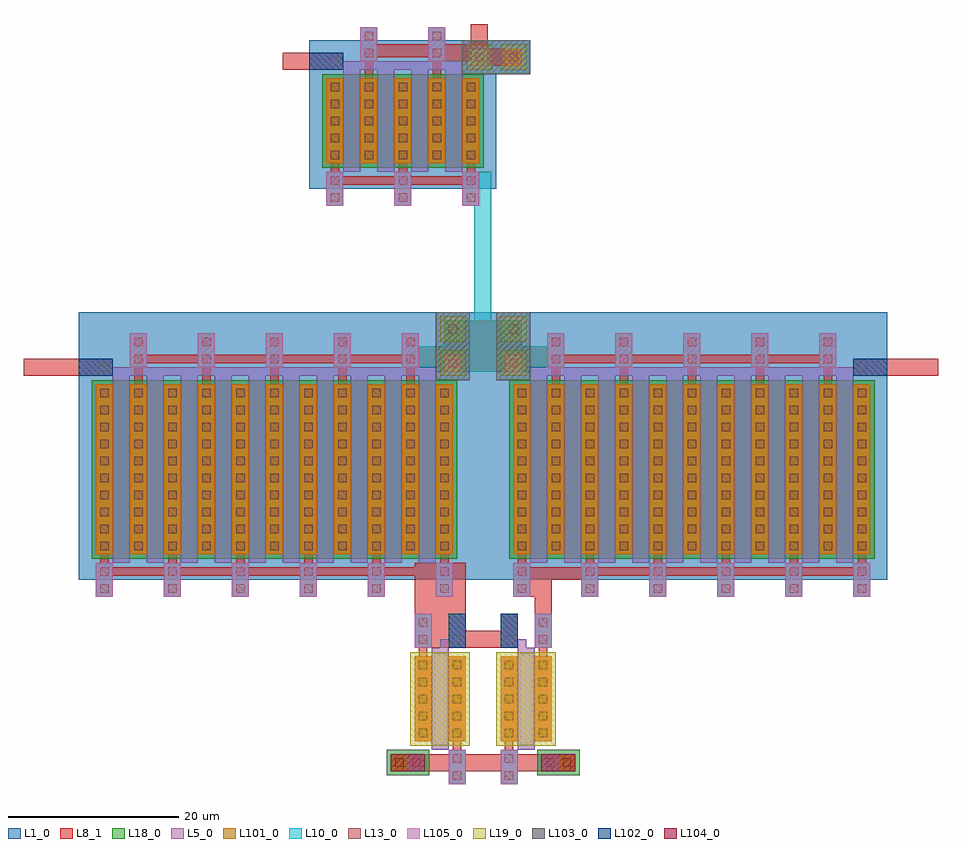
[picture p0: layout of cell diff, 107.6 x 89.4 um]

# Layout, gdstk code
from math import pi, radians
import gdstk
lib = gdstk.Library(unit=1e-6, precision=1e-07)
def R(c, l, rs):  # rectangles x0, y0, x1, y1
    for r in rs: c.add(gdstk.rectangle(r[:2], r[2:], *l))
def P(c, l, *ps):  # polygons
    for p in ps: c.add(gdstk.Polygon(p, *l))
L1_0 = (1, 0)
L5_0 = (5, 0)
L8_1 = (8, 1)
L10_0 = (10, 0)
L13_0 = (13, 0)
L18_0 = (18, 0)
L19_0 = (19, 0)
L101_0 = (101, 0)
L102_0 = (102, 0)
L103_0 = (103, 0)
L104_0 = (104, 0)
L105_0 = (105, 0)

dcont = lib.new_cell('dcont')
R(dcont, L8_1, [(-1,-1,1,1)])
R(dcont, L13_0, [(-0.5,-0.5,0.5,0.5)])
R(dcont, L101_0, [(-1,-1,1,1)])

via = lib.new_cell('Via')
R(via, L8_1, [(-1,-1,1,1)])
R(via, L10_0, [(-1,-1,1,1)])
R(via, L13_0, [(-0.5,-0.5,0.5,0.5)])
R(via, L105_0, [(-1,-1,1,1)])

dcont1 = lib.new_cell('dcont1')
R(dcont1, L8_1, [(-1,-1,1,1)])
R(dcont1, L13_0, [(-0.5,-0.5,0.5,0.5)])
R(dcont1, L101_0, [(-1,-1,1,1)])

nsubcont = lib.new_cell('nsubcont')
R(nsubcont, L1_0, [(-2,-2,2,2)])
R(nsubcont, L19_0, [(-1.5,-1.5,1.5,1.5)])
R(nsubcont, L103_0, [(-2,-2,2,2)])
nsubcont.add(gdstk.Reference(dcont1, (0,0)))

pch_2 = lib.new_cell('Pch$2')
R(pch_2, L1_0, [(-2,-1.5,20,16)])
R(pch_2, L5_0, [(0,0,2,2)])
R(pch_2, L8_1, [(0,0,2,2)])
P(pch_2, L8_1, [(4.5,-0.5),(4.5,3),(4,3),(4,13),(6,13),(6,3),(5.5,3),(5.5,0.5),(12.5,0.5),(12.5,3),(12,3),(12,13),(14,13),(14,3),(13.5,3),(13.5,-0.5)],
  [(0,3),(0,13),(0.5,13),(0.5,15.5),(17.5,15.5),(17.5,13),(18,13),(18,3),(16,3),(16,13),(16.5,13),(16.5,14.5),(9.5,14.5),(9.5,13),(10,13),(10,3),(8,3),(8,13),(8.5,13),(8.5,14.5),(1.5,14.5),(1.5,13),(2,13),(2,3)])
R(pch_2, L13_0, [(0.5,0.5,1.5,1.5)])
R(pch_2, L18_0, [(-0.5,2.5,18.5,13.5)])
R(pch_2, L102_0, [(0,0,2,2)])
pch_2.add(gdstk.FlexPath([(3,3),(3,13)], 2, ends="extended", simple_path=True, layer=5, datatype=0))  # L5_0
pch_2.add(gdstk.FlexPath([(7,3),(7,13)], 2, ends="extended", simple_path=True, layer=5, datatype=0))  # L5_0
pch_2.add(gdstk.FlexPath([(11,3),(11,13)], 2, ends="extended", simple_path=True, layer=5, datatype=0))  # L5_0
pch_2.add(gdstk.FlexPath([(15,3),(15,13)], 2, ends="extended", simple_path=True, layer=5, datatype=0))  # L5_0
pch_2.add(gdstk.FlexPath([(1,1.5),(2.5,1.5),(2.5,2)], 1, ends="flush", simple_path=True, layer=5, datatype=0))  # L5_0
pch_2.add(gdstk.FlexPath([(2,1.5),(8,1.5)], 1, ends="flush", simple_path=True, layer=5, datatype=0))  # L5_0
pch_2.add(gdstk.FlexPath([(6,1.5),(12,1.5)], 1, ends="flush", simple_path=True, layer=5, datatype=0))  # L5_0
pch_2.add(gdstk.FlexPath([(10,1.5),(16,1.5)], 1, ends="flush", simple_path=True, layer=5, datatype=0))  # L5_0
pch_2.add(gdstk.Reference(dcont, (1,4)))
pch_2.add(gdstk.Reference(dcont, (1,6)))
pch_2.add(gdstk.Reference(dcont, (1,8)))
pch_2.add(gdstk.Reference(dcont, (1,10)))
pch_2.add(gdstk.Reference(dcont, (1,12)))
pch_2.add(gdstk.Reference(dcont, (5,4)))
pch_2.add(gdstk.Reference(dcont, (5,6)))
pch_2.add(gdstk.Reference(dcont, (5,8)))
pch_2.add(gdstk.Reference(dcont, (5,10)))
pch_2.add(gdstk.Reference(dcont, (5,12)))
pch_2.add(gdstk.Reference(dcont, (9,4)))
pch_2.add(gdstk.Reference(dcont, (9,6)))
pch_2.add(gdstk.Reference(dcont, (9,8)))
pch_2.add(gdstk.Reference(dcont, (9,10)))
pch_2.add(gdstk.Reference(dcont, (9,12)))
pch_2.add(gdstk.Reference(dcont, (13,4)))
pch_2.add(gdstk.Reference(dcont, (13,6)))
pch_2.add(gdstk.Reference(dcont, (13,8)))
pch_2.add(gdstk.Reference(dcont, (13,10)))
pch_2.add(gdstk.Reference(dcont, (13,12)))
pch_2.add(gdstk.Reference(dcont, (17,4)))
pch_2.add(gdstk.Reference(dcont, (17,6)))
pch_2.add(gdstk.Reference(dcont, (17,8)))
pch_2.add(gdstk.Reference(dcont, (17,10)))
pch_2.add(gdstk.Reference(dcont, (17,12)))
pch_2.add(gdstk.Reference(via, (1,1)))
pch_2.add(gdstk.Reference(via, (1,15)))
pch_2.add(gdstk.Reference(via, (5,0)))
pch_2.add(gdstk.Reference(via, (9,15)))
pch_2.add(gdstk.Reference(via, (13,0)))
pch_2.add(gdstk.Reference(via, (17,15)))
pch_2.add(gdstk.Reference(nsubcont, (18,0.5)))
pch_2.add(gdstk.Reference(via, (18,0.5)))

pch_6 = lib.new_cell('Pch$6')
R(pch_6, L1_0, [(-2,-1.5,44,26)])
R(pch_6, L5_0, [(0,0,2,2)])
R(pch_6, L8_1, [(0,0,2,2)])
P(pch_6, L8_1, [(4.5,-0.5),(4.5,3),(4,3),(4,23),(6,23),(6,3),(5.5,3),(5.5,0.5),(12.5,0.5),(12.5,3),(12,3),(12,23),(14,23),(14,3),(13.5,3),(13.5,0.5),(20.5,0.5),(20.5,3),(20,3),(20,23),(22,23),(22,3),(21.5,3),(21.5,0.5),(28.5,0.5),(28.5,3),(28,3),(28,23),(30,23),(30,3),(29.5,3),(29.5,0.5),(36.5,0.5),(36.5,3),(36,3),(36,23),(38,23),(38,3),(37.5,3),(37.5,-0.5)],
  [(0,3),(0,23),(0.5,23),(0.5,25.5),(41.5,25.5),(41.5,23),(42,23),(42,3),(40,3),(40,23),(40.5,23),(40.5,24.5),(33.5,24.5),(33.5,23),(34,23),(34,3),(32,3),(32,23),(32.5,23),(32.5,24.5),(25.5,24.5),(25.5,23),(26,23),(26,3),(24,3),(24,23),(24.5,23),(24.5,24.5),(17.5,24.5),(17.5,23),(18,23),(18,3),(16,3),(16,23),(16.5,23),(16.5,24.5),(9.5,24.5),(9.5,23),(10,23),(10,3),(8,3),(8,23),(8.5,23),(8.5,24.5),(1.5,24.5),(1.5,23),(2,23),(2,3)])
R(pch_6, L13_0, [(0.5,0.5,1.5,1.5)])
R(pch_6, L18_0, [(-0.5,2.5,42.5,23.5)])
R(pch_6, L102_0, [(0,0,2,2)])
pch_6.add(gdstk.FlexPath([(3,3),(3,23)], 2, ends="extended", simple_path=True, layer=5, datatype=0))  # L5_0
pch_6.add(gdstk.FlexPath([(7,3),(7,23)], 2, ends="extended", simple_path=True, layer=5, datatype=0))  # L5_0
pch_6.add(gdstk.FlexPath([(11,3),(11,23)], 2, ends="extended", simple_path=True, layer=5, datatype=0))  # L5_0
pch_6.add(gdstk.FlexPath([(15,3),(15,23)], 2, ends="extended", simple_path=True, layer=5, datatype=0))  # L5_0
pch_6.add(gdstk.FlexPath([(19,3),(19,23)], 2, ends="extended", simple_path=True, layer=5, datatype=0))  # L5_0
pch_6.add(gdstk.FlexPath([(23,3),(23,23)], 2, ends="extended", simple_path=True, layer=5, datatype=0))  # L5_0
pch_6.add(gdstk.FlexPath([(27,3),(27,23)], 2, ends="extended", simple_path=True, layer=5, datatype=0))  # L5_0
pch_6.add(gdstk.FlexPath([(31,3),(31,23)], 2, ends="extended", simple_path=True, layer=5, datatype=0))  # L5_0
pch_6.add(gdstk.FlexPath([(35,3),(35,23)], 2, ends="extended", simple_path=True, layer=5, datatype=0))  # L5_0
pch_6.add(gdstk.FlexPath([(39,3),(39,23)], 2, ends="extended", simple_path=True, layer=5, datatype=0))  # L5_0
pch_6.add(gdstk.FlexPath([(1,1.5),(2.5,1.5),(2.5,2)], 1, ends="flush", simple_path=True, layer=5, datatype=0))  # L5_0
pch_6.add(gdstk.FlexPath([(2,1.5),(8,1.5)], 1, ends="flush", simple_path=True, layer=5, datatype=0))  # L5_0
pch_6.add(gdstk.FlexPath([(6,1.5),(12,1.5)], 1, ends="flush", simple_path=True, layer=5, datatype=0))  # L5_0
pch_6.add(gdstk.FlexPath([(10,1.5),(16,1.5)], 1, ends="flush", simple_path=True, layer=5, datatype=0))  # L5_0
pch_6.add(gdstk.FlexPath([(14,1.5),(20,1.5)], 1, ends="flush", simple_path=True, layer=5, datatype=0))  # L5_0
pch_6.add(gdstk.FlexPath([(18,1.5),(24,1.5)], 1, ends="flush", simple_path=True, layer=5, datatype=0))  # L5_0
pch_6.add(gdstk.FlexPath([(22,1.5),(28,1.5)], 1, ends="flush", simple_path=True, layer=5, datatype=0))  # L5_0
pch_6.add(gdstk.FlexPath([(26,1.5),(32,1.5)], 1, ends="flush", simple_path=True, layer=5, datatype=0))  # L5_0
pch_6.add(gdstk.FlexPath([(30,1.5),(36,1.5)], 1, ends="flush", simple_path=True, layer=5, datatype=0))  # L5_0
pch_6.add(gdstk.FlexPath([(34,1.5),(40,1.5)], 1, ends="flush", simple_path=True, layer=5, datatype=0))  # L5_0
pch_6.add(gdstk.Reference(dcont, (1,12)))
pch_6.add(gdstk.Reference(dcont, (5,12)))
pch_6.add(gdstk.Reference(dcont, (9,12)))
pch_6.add(gdstk.Reference(dcont, (13,12)))
pch_6.add(gdstk.Reference(dcont, (17,12)))
pch_6.add(gdstk.Reference(dcont, (21,12)))
pch_6.add(gdstk.Reference(dcont, (25,12)))
pch_6.add(gdstk.Reference(dcont, (29,12)))
pch_6.add(gdstk.Reference(dcont, (33,12)))
pch_6.add(gdstk.Reference(dcont, (37,12)))
pch_6.add(gdstk.Reference(dcont, (41,12)))
pch_6.add(gdstk.Reference(dcont, (25,22)))
pch_6.add(gdstk.Reference(dcont, (25,14)))
pch_6.add(gdstk.Reference(dcont, (29,14)))
pch_6.add(gdstk.Reference(dcont, (29,16)))
pch_6.add(gdstk.Reference(dcont, (29,18)))
pch_6.add(gdstk.Reference(dcont, (29,20)))
pch_6.add(gdstk.Reference(dcont, (29,22)))
pch_6.add(gdstk.Reference(dcont, (25,16)))
pch_6.add(gdstk.Reference(dcont, (33,14)))
pch_6.add(gdstk.Reference(dcont, (33,16)))
pch_6.add(gdstk.Reference(dcont, (33,18)))
pch_6.add(gdstk.Reference(dcont, (33,20)))
pch_6.add(gdstk.Reference(dcont, (33,22)))
pch_6.add(gdstk.Reference(dcont, (25,18)))
pch_6.add(gdstk.Reference(dcont, (37,14)))
pch_6.add(gdstk.Reference(dcont, (37,16)))
pch_6.add(gdstk.Reference(dcont, (37,18)))
pch_6.add(gdstk.Reference(dcont, (37,20)))
pch_6.add(gdstk.Reference(dcont, (37,22)))
pch_6.add(gdstk.Reference(dcont, (25,20)))
pch_6.add(gdstk.Reference(dcont, (41,14)))
pch_6.add(gdstk.Reference(dcont, (41,16)))
pch_6.add(gdstk.Reference(dcont, (41,18)))
pch_6.add(gdstk.Reference(dcont, (41,20)))
pch_6.add(gdstk.Reference(dcont, (41,22)))
pch_6.add(gdstk.Reference(via, (25,25)))
pch_6.add(gdstk.Reference(via, (33,25)))
pch_6.add(gdstk.Reference(via, (41,25)))
pch_6.add(gdstk.Reference(dcont, (5,18)))
pch_6.add(gdstk.Reference(dcont, (5,20)))
pch_6.add(gdstk.Reference(dcont, (5,22)))
pch_6.add(gdstk.Reference(dcont, (1,16)))
pch_6.add(gdstk.Reference(dcont, (9,14)))
pch_6.add(gdstk.Reference(dcont, (9,16)))
pch_6.add(gdstk.Reference(dcont, (9,18)))
pch_6.add(gdstk.Reference(dcont, (9,20)))
pch_6.add(gdstk.Reference(dcont, (9,22)))
pch_6.add(gdstk.Reference(dcont, (1,18)))
pch_6.add(gdstk.Reference(dcont, (13,14)))
pch_6.add(gdstk.Reference(dcont, (13,16)))
pch_6.add(gdstk.Reference(dcont, (13,18)))
pch_6.add(gdstk.Reference(dcont, (13,20)))
pch_6.add(gdstk.Reference(dcont, (13,22)))
pch_6.add(gdstk.Reference(dcont, (1,20)))
pch_6.add(gdstk.Reference(dcont, (17,14)))
pch_6.add(gdstk.Reference(dcont, (17,16)))
pch_6.add(gdstk.Reference(dcont, (17,18)))
pch_6.add(gdstk.Reference(dcont, (17,20)))
pch_6.add(gdstk.Reference(dcont, (17,22)))
pch_6.add(gdstk.Reference(dcont, (1,22)))
pch_6.add(gdstk.Reference(dcont, (21,14)))
pch_6.add(gdstk.Reference(dcont, (21,16)))
pch_6.add(gdstk.Reference(dcont, (21,18)))
pch_6.add(gdstk.Reference(dcont, (21,20)))
pch_6.add(gdstk.Reference(dcont, (21,22)))
pch_6.add(gdstk.Reference(via, (1,25)))
pch_6.add(gdstk.Reference(via, (9,25)))
pch_6.add(gdstk.Reference(via, (17,25)))
pch_6.add(gdstk.Reference(dcont, (1,14)))
pch_6.add(gdstk.Reference(dcont, (5,14)))
pch_6.add(gdstk.Reference(dcont, (5,16)))
pch_6.add(gdstk.Reference(dcont, (1,4)))
pch_6.add(gdstk.Reference(dcont, (1,6)))
pch_6.add(gdstk.Reference(dcont, (21,4)))
pch_6.add(gdstk.Reference(dcont, (21,6)))
pch_6.add(gdstk.Reference(dcont, (21,8)))
pch_6.add(gdstk.Reference(dcont, (21,10)))
pch_6.add(gdstk.Reference(dcont, (13,4)))
pch_6.add(gdstk.Reference(dcont, (13,6)))
pch_6.add(gdstk.Reference(dcont, (13,8)))
pch_6.add(gdstk.Reference(dcont, (13,10)))
pch_6.add(gdstk.Reference(dcont, (5,4)))
pch_6.add(gdstk.Reference(dcont, (5,6)))
pch_6.add(gdstk.Reference(dcont, (9,4)))
pch_6.add(gdstk.Reference(dcont, (9,6)))
pch_6.add(gdstk.Reference(dcont, (9,8)))
pch_6.add(gdstk.Reference(dcont, (9,10)))
pch_6.add(gdstk.Reference(dcont, (17,4)))
pch_6.add(gdstk.Reference(dcont, (17,6)))
pch_6.add(gdstk.Reference(via, (1,1)))
pch_6.add(gdstk.Reference(dcont, (17,8)))
pch_6.add(gdstk.Reference(via, (5,0)))
pch_6.add(gdstk.Reference(dcont, (17,10)))
pch_6.add(gdstk.Reference(via, (13,0)))
pch_6.add(gdstk.Reference(dcont, (5,8)))
pch_6.add(gdstk.Reference(via, (21,0)))
pch_6.add(gdstk.Reference(dcont, (5,10)))
pch_6.add(gdstk.Reference(dcont, (1,8)))
pch_6.add(gdstk.Reference(dcont, (1,10)))
pch_6.add(gdstk.Reference(dcont, (41,6)))
pch_6.add(gdstk.Reference(dcont, (41,8)))
pch_6.add(gdstk.Reference(dcont, (41,10)))
pch_6.add(gdstk.Reference(dcont, (29,8)))
pch_6.add(gdstk.Reference(dcont, (29,10)))
pch_6.add(gdstk.Reference(dcont, (25,8)))
pch_6.add(gdstk.Reference(dcont, (25,10)))
pch_6.add(gdstk.Reference(dcont, (25,4)))
pch_6.add(gdstk.Reference(dcont, (25,6)))
pch_6.add(gdstk.Reference(dcont, (37,4)))
pch_6.add(gdstk.Reference(dcont, (37,6)))
pch_6.add(gdstk.Reference(dcont, (37,8)))
pch_6.add(gdstk.Reference(dcont, (37,10)))
pch_6.add(gdstk.Reference(dcont, (29,4)))
pch_6.add(gdstk.Reference(dcont, (29,6)))
pch_6.add(gdstk.Reference(dcont, (33,4)))
pch_6.add(gdstk.Reference(dcont, (33,6)))
pch_6.add(gdstk.Reference(dcont, (33,8)))
pch_6.add(gdstk.Reference(via, (29,0)))
pch_6.add(gdstk.Reference(dcont, (33,10)))
pch_6.add(gdstk.Reference(via, (37,0)))
pch_6.add(gdstk.Reference(dcont, (41,4)))
pch_6.add(gdstk.Reference(nsubcont, (42,0.5)))
pch_6.add(gdstk.Reference(via, (42,0.5)))

psubcont = lib.new_cell('psubcont')
R(psubcont, L18_0, [(-1.5,-1.5,1.5,1.5)])
R(psubcont, L104_0, [(-1,-1,1,1)])
psubcont.add(gdstk.Reference(dcont1, (0,0)))

nch = lib.new_cell('Nch')
R(nch, L5_0, [(0,14,2,16)])
R(nch, L8_1, [(0,14,2,16)])
P(nch, L8_1, [(0.5,1),(0.5,3),(0,3),(0,13),(2,13),(2,3),(1.5,3),(1.5,1)],
  [(4,3),(4,13),(4.5,13),(4.5,15),(5.5,15),(5.5,13),(6,13),(6,3)])
R(nch, L13_0, [(0.5,14.5,1.5,15.5)])
R(nch, L19_0, [(-0.5,2.5,6.5,13.5)])
R(nch, L102_0, [(0,14,2,16)])
nch.add(gdstk.FlexPath([(3,3),(3,13)], 2, ends="extended", simple_path=True, layer=5, datatype=0))  # L5_0
nch.add(gdstk.FlexPath([(1,14.5),(2.5,14.5),(2.5,14)], 1, ends="flush", simple_path=True, layer=5, datatype=0))  # L5_0
nch.add(gdstk.Reference(dcont, (1,4)))
nch.add(gdstk.Reference(dcont, (1,6)))
nch.add(gdstk.Reference(dcont, (1,8)))
nch.add(gdstk.Reference(dcont, (1,10)))
nch.add(gdstk.Reference(dcont, (1,12)))
nch.add(gdstk.Reference(dcont, (5,4)))
nch.add(gdstk.Reference(dcont, (5,6)))
nch.add(gdstk.Reference(dcont, (5,8)))
nch.add(gdstk.Reference(dcont, (5,10)))
nch.add(gdstk.Reference(dcont, (5,12)))
nch.add(gdstk.Reference(via, (1,15)))
nch.add(gdstk.Reference(via, (1,1)))
nch.add(gdstk.Reference(via, (5,15)))
nch.add(gdstk.Reference(psubcont, (5.8,0.5)))
nch.add(gdstk.Reference(via, (5.8,0.5)))

via_1 = lib.new_cell('Via$1')
R(via_1, L8_1, [(-1,-1,1,1)])
R(via_1, L10_0, [(-1,-1,1,1)])
R(via_1, L13_0, [(-0.5,-0.5,0.5,0.5)])
R(via_1, L105_0, [(-1,-1,1,1)])

dcont1_1 = lib.new_cell('dcont1$1')
R(dcont1_1, L8_1, [(-1,-1,1,1)])
R(dcont1_1, L13_0, [(-0.5,-0.5,0.5,0.5)])
R(dcont1_1, L101_0, [(-1,-1,1,1)])

psubcont_1 = lib.new_cell('psubcont$1')
R(psubcont_1, L18_0, [(-1.5,-1.5,1.5,1.5)])
R(psubcont_1, L104_0, [(-1,-1,1,1)])
psubcont_1.add(gdstk.Reference(dcont1_1, (0,0)))

nsubcont_1 = lib.new_cell('nsubcont$1')
R(nsubcont_1, L1_0, [(-2,-2,2,2)])
R(nsubcont_1, L19_0, [(-1.5,-1.5,1.5,1.5)])
R(nsubcont_1, L103_0, [(-2,-2,2,2)])
nsubcont_1.add(gdstk.Reference(dcont1_1, (0,0)))

poly_contact = lib.new_cell('poly_contact')
R(poly_contact, L5_0, [(264.2,50.1,266.2,52.1)])
R(poly_contact, L8_1, [(264.2,50.1,266.2,52.1)])
R(poly_contact, L10_0, [(264.2,50.1,266.2,52.1)])
R(poly_contact, L102_0, [(264.2,50.1,266.2,52.1)])
R(poly_contact, L105_0, [(264.2,50.1,266.2,52.1)])

diff = lib.new_cell('diff')
R(diff, L1_0, [(209.9,23.5,213,51), (163.9,51,205.9,55), (205.9,51,217,55), (217,51,259,55)])
R(diff, L8_1, [(202.6,1,220.3,3), (157.4,47.5,167.9,49.5), (255,47.5,265,49.5), (187.9,83.5,195,85.5), (199,86,205,86.5)])
P(diff, L8_1, [(217.5,16.5),(217.5,21.5),(217,21.5),(217,23.5),(215.5,23.5),(215.5,25),(223.5,25),(223.5,23.5),(219.5,23.5),(219.5,16.5)],
  [(203.4,15.5),(203.4,25.5),(209.4,25.5),(209.4,17.5),(215.5,17.5),(215.5,15.5)],
  [(205.9,48),(205.9,48.5),(201.9,48.5),(201.9,51),(206.9,51),(206.9,54),(216,54),(216,51),(221,51),(221,48.5),(217,48.5),(217,48)],
  [(210,84),(210,84.5),(206,84.5),(206,86.5),(210,86.5),(210,88.9),(212,88.9),(212,86),(216,86),(216,84)])
R(diff, L10_0, [(205.9,48,217,51), (206.9,48,216,54), (201.9,48.5,221,51)])
diff.add(gdstk.FlexPath([(209,70.5),(211.4,70.5),(211.4,48.5)], 2, ends="flush", simple_path=True, layer=10, datatype=0))  # L10_0
diff.add(gdstk.Reference(pch_2, (193,85.5), x_reflection=True))
diff.add(gdstk.Reference(pch_6, (165.9,49.5), x_reflection=True))
diff.add(gdstk.Reference(pch_6, (257,49.5), rotation=pi))
diff.add(gdstk.Reference(nch, (213.5,1.5)))
diff.add(gdstk.Reference(nch, (209.4,1.5), rotation=pi, x_reflection=True))
diff.add(gdstk.Reference(via_1, (170.9,51.5)))
diff.add(gdstk.Reference(via_1, (178.9,51.5)))
diff.add(gdstk.Reference(via_1, (186.9,51.5)))
diff.add(gdstk.Reference(via_1, (194.9,51.5)))
diff.add(gdstk.Reference(via_1, (202.9,51.5)))
diff.add(gdstk.Reference(via_1, (198,87.5)))
diff.add(gdstk.Reference(via_1, (206,87.5)))
diff.add(gdstk.Reference(via_1, (194,68.5)))
diff.add(gdstk.Reference(via_1, (202,68.5)))
diff.add(gdstk.Reference(via_1, (210,68.5)))
diff.add(gdstk.Reference(via_1, (220,51.5)))
diff.add(gdstk.Reference(via_1, (228,51.5)))
diff.add(gdstk.Reference(via_1, (236,51.5)))
diff.add(gdstk.Reference(via_1, (252,51.5)))
diff.add(gdstk.Reference(via_1, (244,51.5)))
diff.add(gdstk.Reference(via_1, (256,22.5)))
diff.add(gdstk.Reference(via_1, (248,22.5)))
diff.add(gdstk.Reference(via_1, (224,22.5)))
diff.add(gdstk.Reference(via_1, (232,22.5)))
diff.add(gdstk.Reference(via_1, (240,22.5)))
diff.add(gdstk.Reference(via_1, (216,22.5)))
diff.add(gdstk.Reference(via_1, (206.9,22.5)))
diff.add(gdstk.Reference(via_1, (204.4,18.5)))
diff.add(gdstk.Reference(via_1, (218.5,18.5)))
diff.add(gdstk.Reference(via_1, (214.5,0.5)))
diff.add(gdstk.Reference(via_1, (208.4,0.5)))
diff.add(gdstk.Reference(via_1, (198.9,22.5)))
diff.add(gdstk.Reference(via_1, (166.9,22.5)))
diff.add(gdstk.Reference(via_1, (174.9,22.5)))
diff.add(gdstk.Reference(via_1, (182.9,22.5)))
diff.add(gdstk.Reference(via_1, (190.9,22.5)))
diff.add(gdstk.Reference(psubcont_1, (201.6,2)))
diff.add(gdstk.Reference(psubcont_1, (221.3,2)))
diff.add(gdstk.Reference(nsubcont_1, (207.9,53)))
diff.add(gdstk.Reference(nsubcont_1, (215,53)))
diff.add(gdstk.Reference(nsubcont_1, (215,85)))
diff.add(gdstk.Reference(poly_contact, (-50.7,-32.6)))
diff.add(gdstk.Reference(poly_contact, (-56.8,-32.6)))
diff.add(gdstk.Reference(poly_contact, (-7.2,-2.6)))
diff.add(gdstk.Reference(poly_contact, (-100.3,-2.6)))
diff.add(gdstk.Reference(poly_contact, (-73.2,33.4)))

lib.write_gds('diff.gds')
